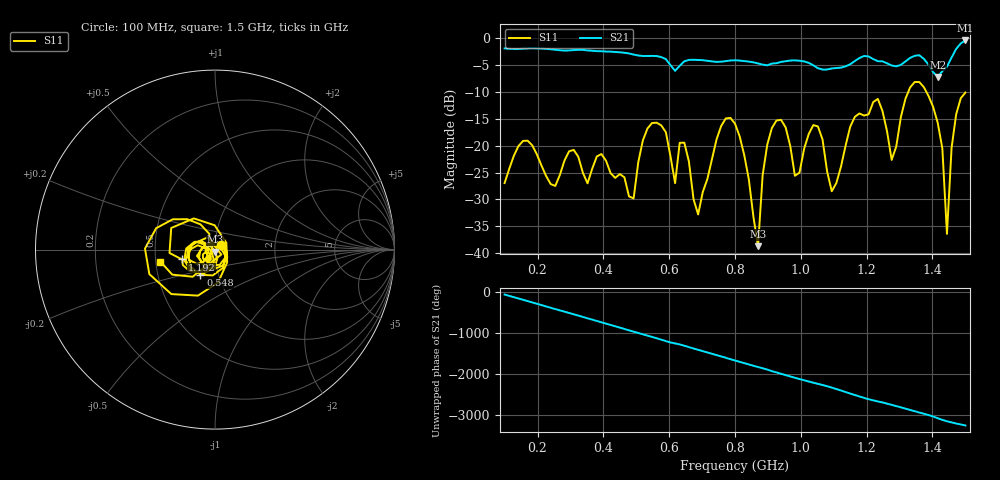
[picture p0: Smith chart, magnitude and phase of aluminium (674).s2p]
! NanoVNA-App
! Date: 2025-09-25 15:00:31
! Start: 100MHz Stop: 1,5GHz Points: 101
! S-Parameter data: F S11 S21 S12 S22
# Hz S RI R 50
!  Frequency  S11_Real  S11_Imag  S21_Real  S21_Imag  S12_Real  S12_Imag  S22_Real  S22_Imag
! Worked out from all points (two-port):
!   101 points, 100 MHz to 1.5 GHz, reference 50 ohm
!   highest |S21| = -0.44 dB at 1.5 GHz (marker M1); lowest = -7.2 dB at 1.416 GHz (marker M2)
!   |S21| within 3 dB of the highest: start of sweep to 569.3 MHz; 1.46 GHz to end of sweep (the widest 2 of 4)
!   lowest |S11| = -38.7 dB at 870 MHz (marker M3), VSWR 1.02, Z = 50.2 - j1.15 ohm
!   |S11| at or under -10 dB: start of sweep to 1.327 GHz; 1.381 GHz to end of sweep
!   S12 and S22 are empty: the file has one direction only
!   S11 on the Smith chart (normalised r, x): 100 MHz: 1.07, +0.06; 548 MHz: 0.82, -0.24; 1.192 GHz: 0.69, -0.08; 1.5 GHz: 0.53, -0.08
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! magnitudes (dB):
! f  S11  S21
! 100 MHz  -27.0  -1.9
! 156 MHz  -19.1  -2.0
! 338 MHz  -25.1  -2.2
! 492 MHz  -29.8  -3.1
! 548 MHz  -15.8  -3.3
! 576 MHz  -16.2  -3.5
! 646 MHz  -19.5  -4.3
! 688 MHz  -32.8  -4.1
! 800 MHz  -15.9  -4.1
! 870 MHz  -38.7  -4.7
! 912 MHz  -16.7  -4.7
! 982 MHz  -25.6  -4.2
! 1.038 GHz  -16.2  -5.1
! 1.094 GHz  -28.5  -5.7
! 1.192 GHz  -14.4  -3.3
! 1.234 GHz  -11.3  -4.3
! 1.276 GHz  -22.7  -5.1
! 1.346 GHz  -8.2  -3.3
! 1.416 GHz  -15.8  -7.2
! 1.444 GHz  -36.4  -5.3
! 1.458 GHz  -20.4  -3.6
! 1.5 GHz  -10.1  -0.4
